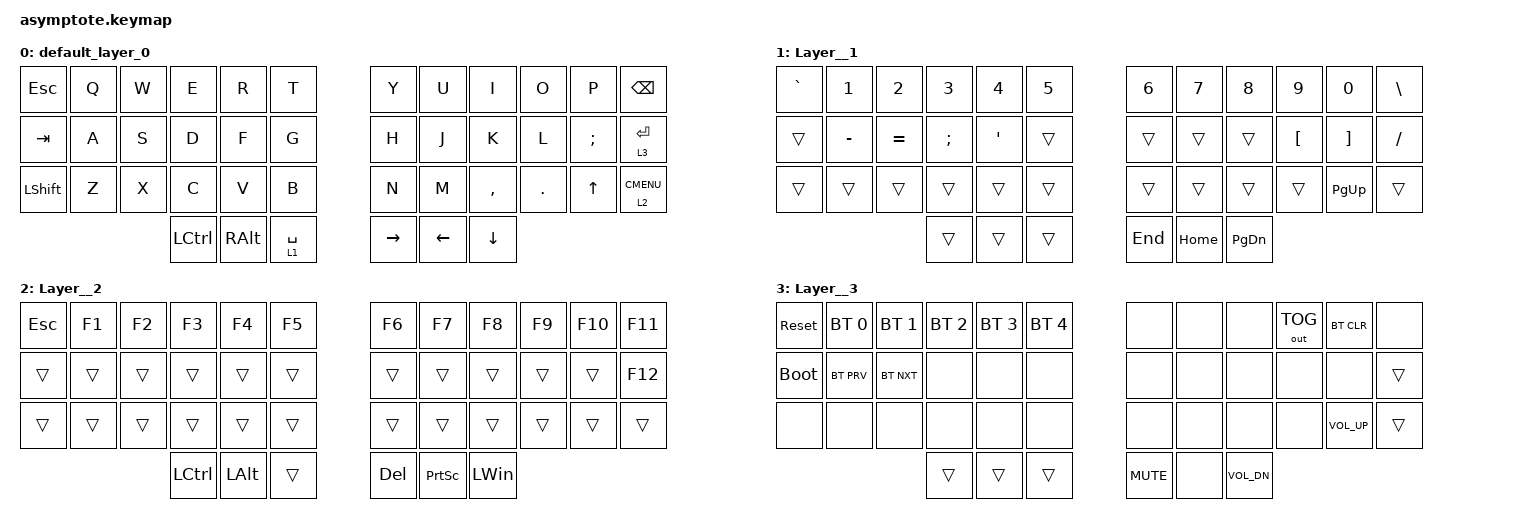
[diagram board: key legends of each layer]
/*
 * Copyright (c) 2020 The ZMK Contributors
 *
 * SPDX-License-Identifier: MIT
 */

#include <behaviors.dtsi>
#include <dt-bindings/zmk/bt.h>
#include <dt-bindings/zmk/keys.h>
#include <dt-bindings/zmk/outputs.h>

&mt { tapping-term-ms = <200>; };

&lt { quick-tap-ms = <400>; };

/ {
    keymap {
        compatible = "zmk,keymap";

        default_layer_0 {
            bindings = <
&kp ESC    &kp Q     &kp W        &kp E            &kp R     &kp T     &kp Y  &kp U  &kp I      &kp O    &kp P          &kp BSPC
&kp TAB    &kp A     &kp S        &kp D            &kp F     &kp G     &kp H  &kp J  &kp K      &kp L    &kp SEMICOLON  &lt 3 RET
&kp LSHFT  &kp Z     &kp X        &kp C            &kp V     &kp B     &kp N  &kp M  &kp COMMA  &kp DOT  &kp UP_ARROW   &lt 2 K_CMENU
&kp LCTRL  &kp RALT  &lt 1 SPACE  &kp RIGHT_ARROW  &kp LEFT  &kp DOWN
            >;
        };

        Layer__1 {
            bindings = <
&kp GRAVE  &kp N1     &kp N2     &kp N3    &kp N4    &kp N5     &kp N6  &kp N7  &kp N8  &kp N9    &kp N0     &kp BSLH
&trans     &kp MINUS  &kp EQUAL  &kp SEMI  &kp SQT   &trans     &trans  &trans  &trans  &kp LBKT  &kp RBKT   &kp FSLH
&trans     &trans     &trans     &trans    &trans    &trans     &trans  &trans  &trans  &trans    &kp PG_UP  &trans
&trans     &trans     &trans     &kp END   &kp HOME  &kp PG_DN
            >;
        };

        Layer__2 {
            bindings = <
&kp ESC           &kp F1        &kp F2  &kp F3   &kp F4           &kp F5    &kp F6  &kp F7  &kp F8  &kp F9  &kp F10  &kp F11
&trans            &trans        &trans  &trans   &trans           &trans    &trans  &trans  &trans  &trans  &trans   &kp F12
&trans            &trans        &trans  &trans   &trans           &trans    &trans  &trans  &trans  &trans  &trans   &trans
&kp LEFT_CONTROL  &kp LEFT_ALT  &trans  &kp DEL  &kp PRINTSCREEN  &kp LWIN
            >;
        };

        Layer__3 {
            bindings = <
&sys_reset   &bt BT_SEL 0  &bt BT_SEL 1  &bt BT_SEL 2  &bt BT_SEL 3  &bt BT_SEL 4  &none  &none  &none  &out OUT_TOG  &bt BT_CLR    &none
&bootloader  &bt BT_PRV    &bt BT_NXT    &none         &none         &none         &none  &none  &none  &none         &none         &trans
&none        &none         &none         &none         &none         &none         &none  &none  &none  &none         &kp C_VOL_UP  &trans
&trans       &trans        &trans        &kp C_MUTE    &none         &kp C_VOL_DN
            >;
        };
    };
};
